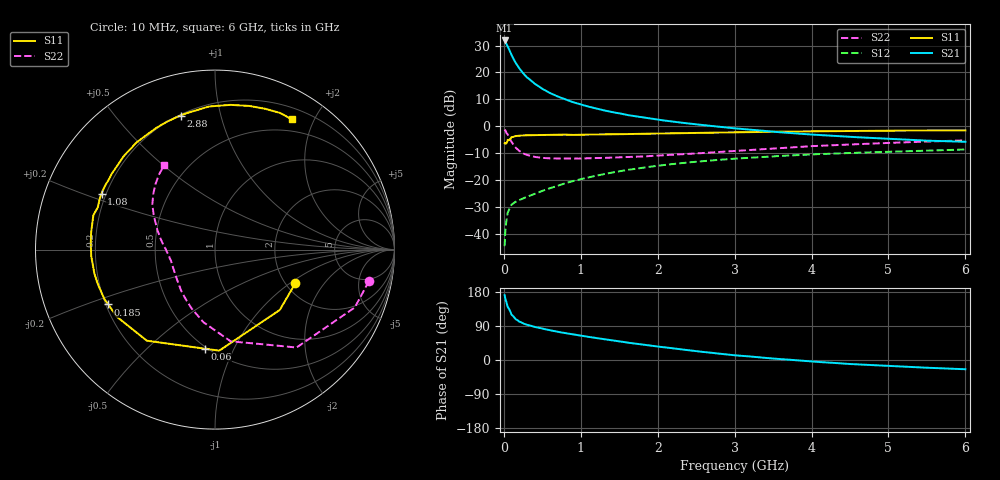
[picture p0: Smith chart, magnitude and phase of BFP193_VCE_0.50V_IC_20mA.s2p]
! Infineon Technologies  Discrete & RF Semiconductors
! BFP193
! VCE = 0.50V,  IC =  20 mA
! Common Emitter S-Parameters:  Jan 2016
# GHz  S  MA  R  50
!  f  S11  S21  S12  S22
! GHz  MAG  ANG  MAG  ANG  MAG  ANG  MAG  ANG
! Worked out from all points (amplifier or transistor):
!   210 points, 10 MHz to 6 GHz, reference 50 ohm
!   highest |S21| = 31.9 dB at 10 MHz (marker M1)
!   |S21| within 3 dB of that: start of sweep to 63.07 MHz
!   unconditionally stable (mu >= 1): 567.5 MHz to end of sweep
!   at 185 MHz: K = 0.54, MSG = 24.9 dB, |S12| = -27.5 dB
!   at 1.52 GHz: K = 1.14, MAG = 8.4 dB, |S12| = -16.6 dB
!   at 6 GHz: K = 1.03, MAG = 0.3 dB, |S12| = -8.6 dB
!   S11 on the Smith chart (normalised r, x): 10 MHz: 2.25, -1.10; 60 MHz: 0.49, -0.78; 185 MHz: 0.21, -0.23; 1.08 GHz: 0.18, +0.23; 2.88 GHz: 0.20, +0.76; 6 GHz: 0.34, +1.70
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0.01  0.4856 -22.7  39.28 171.0  0.006 82.4  0.8758 -11.6
0.02  0.4934 -43.0  37.12 161.1  0.0121 75.3  0.8428 -22.5
0.05  0.5636 -87.6  30.59 140.3  0.0249 58.2  0.71 -50.2
0.06  0.5549 -95.9  28.45 137.3  0.0268 54.7  0.6597 -54.7
0.1  0.6339 -126.8  21.05 119.6  0.0353 44.8  0.5183 -80.3
0.15  0.6623 -145.5  15.3 108.4  0.0398 41.4  0.4095 -99.1
0.185  0.6689 -152.8  12.94 103.9  0.0421 40.5  0.3671 -107.6
0.2  0.675 -155.9  11.96 101.5  0.0431 40.1  0.3519 -111.9
0.24  0.6787 -162.2  10.11 97.7  0.0457 41.4  0.3223 -120.0
0.3  0.6851 -168.8  8.137 93.0  0.0493 42.8  0.2962 -129.6
0.4  0.6907 -177.1  6.201 87.3  0.056 46.1  0.2722 -140.6
0.5  0.6927 177.2  4.974 82.8  0.0636 48.3  0.2605 -148.1
0.7  0.6991 167.8  3.59 74.3  0.0793 51.9  0.2538 -158.1
1.02  0.7029 155.7  2.503 63.7  0.1064 52.7  0.2541 -167.4
1.08  0.7053 153.7  2.371 61.7  0.1115 52.4  0.2559 -168.7
1.6  0.721 137.5  1.629 46.2  0.1552 48.6  0.271 -178.4
2.02  0.74 126.0  1.322 35.1  0.1875 43.8  0.2886 175.0
2.88  0.7711 104.4  0.96 15.1  0.2446 32.9  0.3415 160.6
3.1  0.7787 100.0  0.895 10.9  0.2571 30.1  0.3569 157.0
4.1  0.8122 82.4  0.692 -5.3  0.3062 17.9  0.4363 142.9
5.1  0.834 69.3  0.581 -16.7  0.3421 6.9  0.4995 130.9
6  0.8424 59.5  0.518 -24.4  0.3726 -2.6  0.5503 120.8
